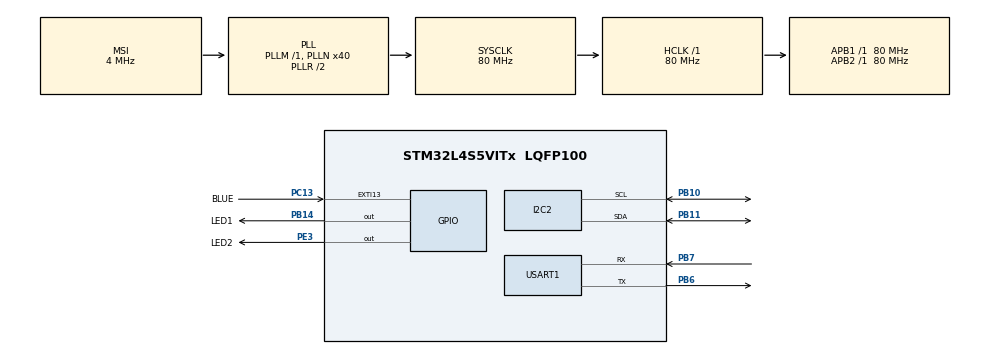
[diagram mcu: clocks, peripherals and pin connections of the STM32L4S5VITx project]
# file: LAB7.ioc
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FREERTOS.Tasks01=defaultTask,0,128,StartDefaultTask,Default,NULL,Dynamic,NULL,NULL;transmitData,0,128,StartTransmitData,Default,NULL,Dynamic,NULL,NULL;buttonPressChec,0,128,StartButtonPressCheck,Default,NULL,Dynamic,NULL,NULL;timer,0,128,StartTimer,Default,NULL,Dynamic,NULL,NULL
I2C2.Timing=0x10909CEC
Mcu.Family=STM32L4
Mcu.Name=STM32L4S5VITx
Mcu.Package=LQFP100
NVIC.EXTI15_10_IRQn=true\:5\:0\:false\:false\:true\:true\:true\:true\:true
NVIC.PriorityGroup=NVIC_PRIORITYGROUP_4
NVIC.TIM6_DAC_IRQn=true\:15\:0\:false\:false\:true\:false\:false\:true\:true
NVIC.TimeBase=TIM6_DAC_IRQn
NVIC.TimeBaseIP=TIM6
NVIC.USART1_IRQn=true\:5\:0\:false\:false\:true\:true\:true\:true\:true
PB10.Mode=I2C
PB10.Signal=I2C2_SCL
PB11.Mode=I2C
PB11.Signal=I2C2_SDA
PB14.GPIO_Label=LED1
PB14.Signal=GPIO_Output
PB6.Mode=Asynchronous
PB6.Signal=USART1_TX
PB7.Mode=Asynchronous
PB7.Signal=USART1_RX
PC13.GPIO_Label=BLUE
PC13.Signal=GPXTI13
PE3.GPIO_Label=LED2
PE3.Signal=GPIO_Output
ProjectManager.HeapSize=0x200
ProjectManager.StackSize=0x400
ProjectManager.TargetToolchain=STM32CubeIDE
RCC.ADCFreq_Value=48000000
RCC.AHBFreq_Value=80000000
RCC.APB1Freq_Value=80000000
RCC.APB1TimFreq_Value=80000000
RCC.APB2Freq_Value=80000000
RCC.APB2TimFreq_Value=80000000
RCC.CortexFreq_Value=80000000
RCC.HCLKFreq_Value=80000000
RCC.HSE_VALUE=8000000
RCC.HSI48_VALUE=48000000
RCC.HSI_VALUE=16000000
RCC.LSE_VALUE=32768
RCC.MSI_VALUE=4000000
RCC.PLLN=40
RCC.PLLSAI1N=24
RCC.SYSCLKFreq_VALUE=80000000
RCC.SYSCLKSource=RCC_SYSCLKSOURCE_PLLCLK
RCC.USBFreq_Value=48000000
RCC.VCOOutputFreq_Value=160000000
USART1.VirtualMode-Asynchronous=VM_ASYNC
VP_FREERTOS_VS_CMSIS_V1.Mode=CMSIS_V1
VP_SYS_VS_tim6.Mode=TIM6
board=B-L4S5I-IOT01A

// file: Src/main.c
/* USER CODE BEGIN Header */
/**
  ******************************************************************************
  * @file           : main.c
  * @brief          : Main program body
  ******************************************************************************
  * @attention
  *
  * Copyright (c) 2022 STMicroelectronics.
  * All rights reserved.
  *
  * This software is licensed under terms that can be found in the LICENSE file
  * in the root directory of this software component.
  * If no LICENSE file comes with this software, it is provided AS-IS.
  *
  ******************************************************************************
  */
/* USER CODE END Header */
#include "main.h"
#include "cmsis_os.h"

/* USER CODE BEGIN Includes */
#include "stm32l4s5i_iot01_accelero.h"
#include "stm32l4s5i_iot01_gyro.h"
#include "stm32l4s5i_iot01_hsensor.h"
#include "stm32l4s5i_iot01_magneto.h"
//#include "stm32l4s5i_iot01_qspi.h"
#include "stm32l4s5i_iot01_psensor.h"
#include "stm32l4s5i_iot01_tsensor.h"

/* USER CODE END Includes */

I2C_HandleTypeDef hi2c2;

UART_HandleTypeDef huart1;

osThreadId defaultTaskHandle;
osThreadId transmitDataHandle;
osThreadId buttonPressChecHandle;
osThreadId timerHandle;

void SystemClock_Config(void);
static void MX_GPIO_Init(void);
static void MX_I2C2_Init(void);
static void MX_USART1_UART_Init(void);
void StartDefaultTask(void const * argument);
void StartTransmitData(void const * argument);
void StartButtonPressCheck(void const * argument);
void StartTimer(void const * argument);

/* USER CODE BEGIN 0 */

int16_t accelero[3];
float gyro[3];
int16_t magneto[3];
uint8_t data[] = "test,test!test!\n";
int counter = 0;
int timer = 0;
int flag = 0;

uint8_t buff[1000];
float humidity;
float pressure;
float temperature;

/* USER CODE END 0 */

int main(void)
{

  /* MCU Configuration--------------------------------------------------------*/

  /* Reset of all peripherals, Initializes the Flash interface and the Systick. */
  HAL_Init();

  /* Configure the system clock */
  SystemClock_Config();

  /* Initialize all configured peripherals */
  MX_GPIO_Init();
  MX_I2C2_Init();
  MX_USART1_UART_Init();
  /* USER CODE BEGIN 2 */
  //BSP_QSPI_Init();
  BSP_HSENSOR_Init();
  BSP_MAGNETO_Init();
  BSP_ACCELERO_Init();
  BSP_GYRO_Init();
  BSP_PSENSOR_Init();
  BSP_TSENSOR_Init();
  //HAL_UART_Init (&huart1)

  /* USER CODE END 2 */

  /* Create the thread(s) */
  /* definition and creation of defaultTask */
  osThreadDef(defaultTask, StartDefaultTask, osPriorityNormal, 0, 128);
  defaultTaskHandle = osThreadCreate(osThread(defaultTask), NULL);

  /* definition and creation of transmitData */
  osThreadDef(transmitData, StartTransmitData, osPriorityNormal, 0, 128);
  transmitDataHandle = osThreadCreate(osThread(transmitData), NULL);

  /* definition and creation of buttonPressChec */
  osThreadDef(buttonPressChec, StartButtonPressCheck, osPriorityNormal, 0, 128);
  buttonPressChecHandle = osThreadCreate(osThread(buttonPressChec), NULL);

  /* definition and creation of timer */
  osThreadDef(timer, StartTimer, osPriorityNormal, 0, 128);
  timerHandle = osThreadCreate(osThread(timer), NULL);

  /* Start scheduler */
  osKernelStart();

  /* We should never get here as control is now taken by the scheduler */
  /* Infinite loop */
  while (1)
  {

  }
}

void SystemClock_Config(void)
{
  RCC_OscInitTypeDef RCC_OscInitStruct = {0};
  RCC_ClkInitTypeDef RCC_ClkInitStruct = {0};

  /** Configure the main internal regulator output voltage
  */
  if (HAL_PWREx_ControlVoltageScaling(PWR_REGULATOR_VOLTAGE_SCALE1) != HAL_OK)
  {
    Error_Handler();
  }

  /** Initializes the RCC Oscillators according to the specified parameters
  * in the RCC_OscInitTypeDef structure.
  */
  RCC_OscInitStruct.OscillatorType = RCC_OSCILLATORTYPE_MSI;
  RCC_OscInitStruct.MSIState = RCC_MSI_ON;
  RCC_OscInitStruct.MSICalibrationValue = 0;
  RCC_OscInitStruct.MSIClockRange = RCC_MSIRANGE_6;
  RCC_OscInitStruct.PLL.PLLState = RCC_PLL_ON;
  RCC_OscInitStruct.PLL.PLLSource = RCC_PLLSOURCE_MSI;
  RCC_OscInitStruct.PLL.PLLM = 1;
  RCC_OscInitStruct.PLL.PLLN = 40;
  RCC_OscInitStruct.PLL.PLLP = RCC_PLLP_DIV2;
  RCC_OscInitStruct.PLL.PLLQ = RCC_PLLQ_DIV2;
  RCC_OscInitStruct.PLL.PLLR = RCC_PLLR_DIV2;
  if (HAL_RCC_OscConfig(&RCC_OscInitStruct) != HAL_OK)
  {
    Error_Handler();
  }

  /** Initializes the CPU, AHB and APB buses clocks
  */
  RCC_ClkInitStruct.ClockType = RCC_CLOCKTYPE_HCLK|RCC_CLOCKTYPE_SYSCLK
                              |RCC_CLOCKTYPE_PCLK1|RCC_CLOCKTYPE_PCLK2;
  RCC_ClkInitStruct.SYSCLKSource = RCC_SYSCLKSOURCE_PLLCLK;
  RCC_ClkInitStruct.AHBCLKDivider = RCC_SYSCLK_DIV1;
  RCC_ClkInitStruct.APB1CLKDivider = RCC_HCLK_DIV1;
  RCC_ClkInitStruct.APB2CLKDivider = RCC_HCLK_DIV1;

  if (HAL_RCC_ClockConfig(&RCC_ClkInitStruct, FLASH_LATENCY_3) != HAL_OK)
  {
    Error_Handler();
  }
}

static void MX_I2C2_Init(void)
{

  hi2c2.Instance = I2C2;
  hi2c2.Init.Timing = 0x10909CEC;
  hi2c2.Init.OwnAddress1 = 0;
  hi2c2.Init.AddressingMode = I2C_ADDRESSINGMODE_7BIT;
  hi2c2.Init.DualAddressMode = I2C_DUALADDRESS_DISABLE;
  hi2c2.Init.OwnAddress2 = 0;
  hi2c2.Init.OwnAddress2Masks = I2C_OA2_NOMASK;
  hi2c2.Init.GeneralCallMode = I2C_GENERALCALL_DISABLE;
  hi2c2.Init.NoStretchMode = I2C_NOSTRETCH_DISABLE;
  if (HAL_I2C_Init(&hi2c2) != HAL_OK)
  {
    Error_Handler();
  }

  /** Configure Analogue filter
  */
  if (HAL_I2CEx_ConfigAnalogFilter(&hi2c2, I2C_ANALOGFILTER_ENABLE) != HAL_OK)
  {
    Error_Handler();
  }

  /** Configure Digital filter
  */
  if (HAL_I2CEx_ConfigDigitalFilter(&hi2c2, 0) != HAL_OK)
  {
    Error_Handler();
  }

}

static void MX_USART1_UART_Init(void)
{

  huart1.Instance = USART1;
  huart1.Init.BaudRate = 115200;
  huart1.Init.WordLength = UART_WORDLENGTH_8B;
  huart1.Init.StopBits = UART_STOPBITS_1;
  huart1.Init.Parity = UART_PARITY_NONE;
  huart1.Init.Mode = UART_MODE_TX_RX;
  huart1.Init.HwFlowCtl = UART_HWCONTROL_NONE;
  huart1.Init.OverSampling = UART_OVERSAMPLING_16;
  huart1.Init.OneBitSampling = UART_ONE_BIT_SAMPLE_DISABLE;
  huart1.Init.ClockPrescaler = UART_PRESCALER_DIV1;
  huart1.AdvancedInit.AdvFeatureInit = UART_ADVFEATURE_NO_INIT;
  if (HAL_UART_Init(&huart1) != HAL_OK)
  {
    Error_Handler();
  }
  if (HAL_UARTEx_SetTxFifoThreshold(&huart1, UART_TXFIFO_THRESHOLD_1_8) != HAL_OK)
  {
    Error_Handler();
  }
  if (HAL_UARTEx_SetRxFifoThreshold(&huart1, UART_RXFIFO_THRESHOLD_1_8) != HAL_OK)
  {
    Error_Handler();
  }
  if (HAL_UARTEx_DisableFifoMode(&huart1) != HAL_OK)
  {
    Error_Handler();
  }

}

static void MX_GPIO_Init(void)
{
  GPIO_InitTypeDef GPIO_InitStruct = {0};

  /* GPIO Ports Clock Enable */
  __HAL_RCC_GPIOE_CLK_ENABLE();
  __HAL_RCC_GPIOC_CLK_ENABLE();
  __HAL_RCC_GPIOB_CLK_ENABLE();

  /*Configure GPIO pin Output Level */
  HAL_GPIO_WritePin(LED2_GPIO_Port, LED2_Pin, GPIO_PIN_RESET);

  /*Configure GPIO pin Output Level */
  HAL_GPIO_WritePin(LED1_GPIO_Port, LED1_Pin, GPIO_PIN_RESET);

  /*Configure GPIO pin : LED2_Pin */
  GPIO_InitStruct.Pin = LED2_Pin;
  GPIO_InitStruct.Mode = GPIO_MODE_OUTPUT_PP;
  GPIO_InitStruct.Pull = GPIO_NOPULL;
  GPIO_InitStruct.Speed = GPIO_SPEED_FREQ_LOW;
  HAL_GPIO_Init(LED2_GPIO_Port, &GPIO_InitStruct);

  /*Configure GPIO pin : BLUE_Pin */
  GPIO_InitStruct.Pin = BLUE_Pin;
  GPIO_InitStruct.Mode = GPIO_MODE_IT_RISING;
  GPIO_InitStruct.Pull = GPIO_NOPULL;
  HAL_GPIO_Init(BLUE_GPIO_Port, &GPIO_InitStruct);

  /*Configure GPIO pin : LED1_Pin */
  GPIO_InitStruct.Pin = LED1_Pin;
  GPIO_InitStruct.Mode = GPIO_MODE_OUTPUT_PP;
  GPIO_InitStruct.Pull = GPIO_NOPULL;
  GPIO_InitStruct.Speed = GPIO_SPEED_FREQ_LOW;
  HAL_GPIO_Init(LED1_GPIO_Port, &GPIO_InitStruct);

  /* EXTI interrupt init*/
  HAL_NVIC_SetPriority(EXTI15_10_IRQn, 5, 0);
  HAL_NVIC_EnableIRQ(EXTI15_10_IRQn);

}

/* USER CODE BEGIN 4 */

//void HAL_GPIO_EXTI_Callback (uint16_t GPIO_Pin) {
//
//	//HAL_UART_Transmit (&huart1, (int8_t *)magneto, 3, 5);
//	//HAL_UART_Receive(&huart1, &data, 3, 200);
//	//HAL_UART_Transmit(&huart1, &data, 4, 5000);
//
//

//
//
//
//	int i = 0;
//}

/* USER CODE END 4 */

void StartDefaultTask(void const * argument)
{
  /* USER CODE BEGIN 5 */

  /* Infinite loop */
  for(;;)
  {
    osDelay(100);

    if(HAL_GPIO_ReadPin(GPIOB, LED1_Pin) == GPIO_PIN_SET) {
		HAL_GPIO_WritePin(GPIOE, LED2_Pin, GPIO_PIN_RESET);
		HAL_GPIO_WritePin(GPIOB, LED1_Pin, GPIO_PIN_RESET);
	} else {
		HAL_GPIO_WritePin(GPIOE, LED2_Pin, GPIO_PIN_SET);
		HAL_GPIO_WritePin(GPIOB, LED1_Pin, GPIO_PIN_SET);
	}

	BSP_ACCELERO_AccGetXYZ(&accelero);
	BSP_GYRO_GetXYZ(&gyro);
	humidity = BSP_HSENSOR_ReadHumidity();
	BSP_MAGNETO_GetXYZ(&magneto);
	pressure = BSP_PSENSOR_ReadPressure();
	temperature = BSP_TSENSOR_ReadTemp();

	int i = 0;

  }
  /* USER CODE END 5 */
}

void StartTransmitData(void const * argument)
{
  /* USER CODE BEGIN StartTransmitData */
  /* Infinite loop */
  for(;;)
  {
    osDelay(100);
    HAL_UART_Transmit(&huart1, &buff, strlen(buff), 100);

    int j = 0;
  }
  /* USER CODE END StartTransmitData */
}

void StartButtonPressCheck(void const * argument)
{
  /* USER CODE BEGIN StartButtonPressCheck */
  /* Infinite loop */
  for(;;)
  {
    osDelay(10);
	if(counter == 0) {
		sprintf(buff, "Accelerometer XYZ: %d, %d, %d \n\r", (int)accelero[0], (int)accelero[1], (int)accelero[2]);
	} else if(counter == 1) {
		sprintf(buff, "Gyroscope XYZ: %d, %d, %d \n\r", (int)gyro[0], (int)gyro[1], (int)gyro[2]);
	} else if(counter == 2) {
		sprintf(buff, "Magnetometer XYZ: %d, %d, %d \n\r", (int)magneto[0], (int)magneto[1], (int)magneto[2]);
	} else if(counter == 3) {
		sprintf(buff, "Humidity: %d \n\r", (int)humidity);
	} else if(counter == 4) {
		sprintf(buff, "Temperature: %d \n\r", (int)temperature);
	} else if(counter == 5) {
		sprintf(buff, "Pressure: %d \n\r", (int)pressure);
	}

	if(HAL_GPIO_ReadPin(GPIOC, BLUE_Pin) == GPIO_PIN_RESET) {

		counter++;
		timer = 0;
		if(counter > 5) {
			counter = 0;
		}
		osDelay(500);
	}

  }
  /* USER CODE END StartButtonPressCheck */
}

void StartTimer(void const * argument)
{
  /* USER CODE BEGIN StartTimer */
  /* Infinite loop */
  for(;;)
  {
    osDelay(1000);
    if(timer > 29) {
    	timer = 0;
		if(counter == 0) {
			sprintf(buff, "Accelerometer XYZ: %d, %d, %d \n\r", (int)accelero[0], (int)accelero[1], (int)accelero[2]);
		} else if(counter == 1) {
			sprintf(buff, "Gyro XYZ: %d, %d, %d \n\r", (int)gyro[0], (int)gyro[1], (int)gyro[2]);
		} else if(counter == 2) {
			sprintf(buff, "Magnetometer XYZ: %d, %d, %d \n\r", (int)magneto[0], (int)magneto[1], (int)magneto[2]);
		} else if(counter == 3) {
			sprintf(buff, "Humidity: %d \n\r", (int)humidity);
		} else if(counter == 4) {
			sprintf(buff, "Temperature: %d \n\r", (int)temperature);
		} else if(counter == 5) {
			sprintf(buff, "Pressure: %d \n\r", (int)pressure);
		}
		counter++;
		if(counter > 5) {
			counter = 0;
		}
    }
    timer++;
  }
  /* USER CODE END StartTimer */
}

void HAL_TIM_PeriodElapsedCallback(TIM_HandleTypeDef *htim)
{
  if (htim->Instance == TIM6) {
    HAL_IncTick();
  }
}

void Error_Handler(void)
{
  __disable_irq();
  while (1)
  {
  }
}
